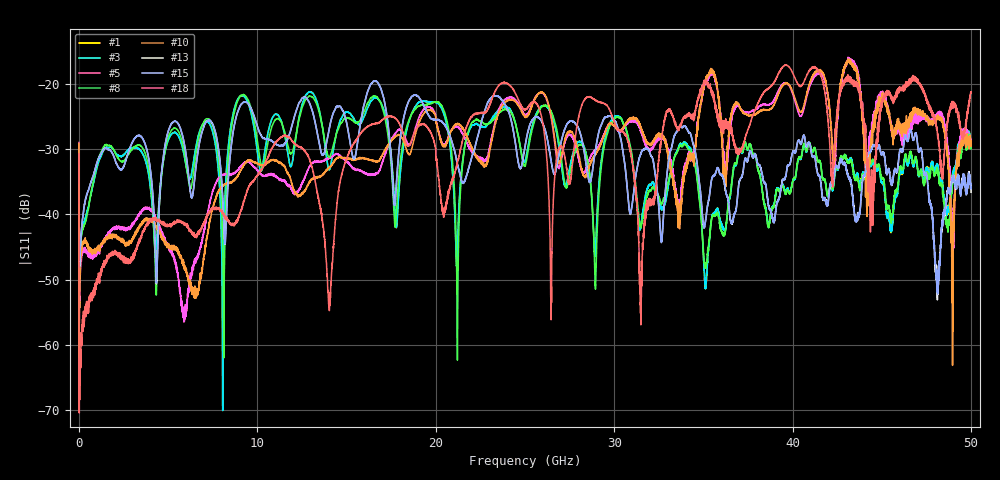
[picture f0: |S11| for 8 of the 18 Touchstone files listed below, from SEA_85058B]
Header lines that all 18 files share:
!Created with skrf (http://scikit-rf.org).
# Hz S RI R 50.0
!freq ReS11 ImS11
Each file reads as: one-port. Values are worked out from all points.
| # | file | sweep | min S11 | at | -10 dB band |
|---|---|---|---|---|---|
| 1 | 85058B_FF_3654B_MTERM1_8510C_mate1_swp0.s1p | 45 MHz to 50 GHz | -69.3 dB | 8.058 GHz | over 49.95 GHz wide |
| 2 | 85058B_FF_3654B_MTERM1_8510C_mate1_swp1.s1p | 45 MHz to 50 GHz | -66.0 dB | 8.058 GHz | over 49.95 GHz wide |
| 3 | 85058B_FF_3654B_MTERM1_8510C_mate1_swp2.s1p | 45 MHz to 50 GHz | -70.1 dB | 8.058 GHz | over 49.95 GHz wide |
| 4 | 85058B_FF_3654B_MTERM1_FieldFox_mate1_swp0.s1p | 300 kHz to 50 GHz | -62.5 dB | 10.3 MHz | over 50 GHz wide |
| 5 | 85058B_FF_3654B_MTERM1_FieldFox_mate1_swp1.s1p | 300 kHz to 50 GHz | -66.0 dB | 5.3 MHz | over 50 GHz wide |
| 6 | 85058B_FF_3654B_MTERM1_FieldFox_mate1_swp2.s1p | 300 kHz to 50 GHz | -68.6 dB | 5.3 MHz | over 50 GHz wide |
| 7 | 85058B_FF_3654B_MTERM2_8510C_mate1_swp0.s1p | 45 MHz to 50 GHz | -61.4 dB | 8.113 GHz | over 49.95 GHz wide |
| 8 | 85058B_FF_3654B_MTERM2_8510C_mate1_swp1.s1p | 45 MHz to 50 GHz | -62.3 dB | 21.21 GHz | over 49.95 GHz wide |
| 9 | 85058B_FF_3654B_MTERM2_8510C_mate1_swp2.s1p | 45 MHz to 50 GHz | -61.9 dB | 8.118 GHz | over 49.95 GHz wide |
| 10 | 85058B_FF_3654B_MTERM2_FieldFox_mate1_swp0.s1p | 300 kHz to 50 GHz | -69.0 dB | 5.3 MHz | over 50 GHz wide |
| 11 | 85058B_FF_3654B_MTERM2_FieldFox_mate1_swp1.s1p | 300 kHz to 50 GHz | -70.2 dB | 5.3 MHz | over 50 GHz wide |
| 12 | 85058B_FF_3654B_MTERM2_FieldFox_mate1_swp2.s1p | 300 kHz to 50 GHz | -71.6 dB | 5.3 MHz | over 50 GHz wide |
| 13 | 85058B_FF_85056A_MBBLOAD_8510C_mate1_swp0.s1p | 45 MHz to 50 GHz | -53.1 dB | 48.11 GHz | over 49.95 GHz wide |
| 14 | 85058B_FF_85056A_MBBLOAD_8510C_mate1_swp1.s1p | 45 MHz to 50 GHz | -53.2 dB | 48.13 GHz | over 49.95 GHz wide |
| 15 | 85058B_FF_85056A_MBBLOAD_8510C_mate1_swp2.s1p | 45 MHz to 50 GHz | -52.2 dB | 48.13 GHz | over 49.95 GHz wide |
| 16 | 85058B_FF_85056A_MBBLOAD_FieldFox_mate1_swp0.s1p | 300 kHz to 50 GHz | -69.9 dB | 5.3 MHz | over 50 GHz wide |
| 17 | 85058B_FF_85056A_MBBLOAD_FieldFox_mate1_swp1.s1p | 300 kHz to 50 GHz | -70.3 dB | 20.3 MHz | over 50 GHz wide |
| 18 | 85058B_FF_85056A_MBBLOAD_FieldFox_mate1_swp2.s1p | 300 kHz to 50 GHz | -70.4 dB | 20.3 MHz | over 50 GHz wide |
